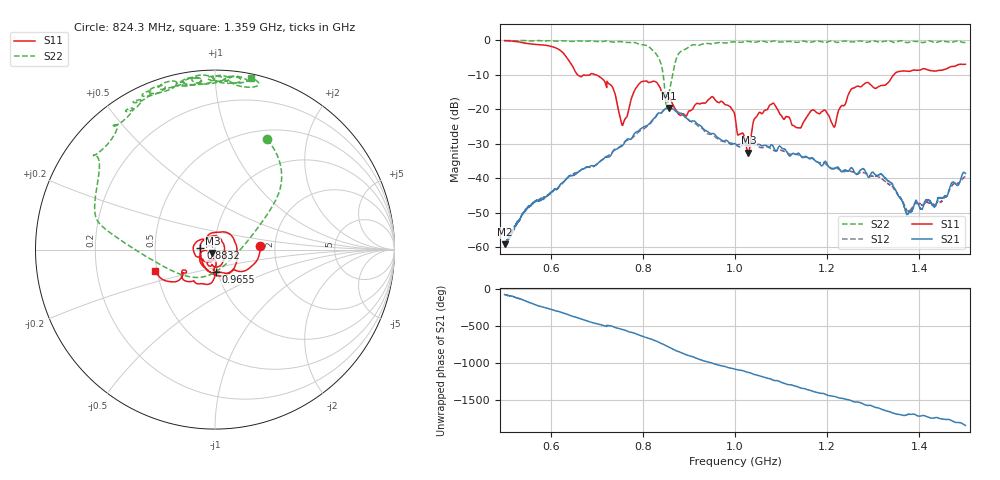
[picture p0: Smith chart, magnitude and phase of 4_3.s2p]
!Agilent Technologies,E8364B,US42250235,A.06.04.32
!Agilent E8364B: A.06.04.32
!Date: Thursday, October 01, 2020 11:07:55
!Correction: S11(Full 2 Port(1,2)) S21(Full 2 Port(1,2)) S12(Full 2 Port(1,2)) S22(Full 2 Port(1,2))
!S2P File: Measurements: S11, S21, S12, S22:
# Hz S  dB  R 50
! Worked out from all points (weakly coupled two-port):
!   2650 points, 500 MHz to 1.5 GHz, reference 50 ohm
!   highest |S21| = -19.70 dB at 856.4 MHz (marker M1); lowest = -59.2 dB at 501.5 MHz (marker M2)
!   lowest |S11| = -32.6 dB at 1.029 GHz (marker M3), VSWR 1.05, Z = 48.5 - j1.77 ohm
!   |S11| at or under -10 dB: 657.7 MHz to 685.6 MHz (27.95 MHz wide, 4.16 % of centre); 695.3 MHz to 1.345 GHz (649.7 MHz wide, 63.7 % of centre)
!   |S22| runs from -19.9 to -0.1 dB; largest |S21 - S12| = 0.028
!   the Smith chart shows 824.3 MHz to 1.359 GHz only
!   S11 on the Smith chart (normalised r, x): 824.3 MHz: 1.68, +0.07; 883.2 MHz: 0.85, +0.01; 965.5 MHz: 0.98, -0.25; 1.359 GHz: 0.49, -0.13
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5e8  -0.16 -175.4  -59.16 -74.7  -58.82 -74.2  -0.21 136.0
5.0151e8  -0.18 -176.2  -59.21 -78.7  -58.69 -74.7  -0.21 135.7
6.057003e8  -2.02 114.5  -43.66 75.4  -43.63 79.5  -0.28 129.4
6.668554e8  -10.58 85.4  -37.49 -46.7  -37.53 -42.3  -0.31 121.2
7.306531e8  -13.02 44.5  -33.40 -140.4  -32.95 -155.9  -0.50 113.3
7.563231e8  -24.63 65.3  -30.53 170.0  -30.18 155.3  -0.55 107.6
8.242733e8  -11.91 4.4  -22.69 25.3  -22.80 12.0  -3.36 64.7
8.337108e8  -12.96 -24.0  -21.16 -0.8  -21.41 -14.7  -5.04 48.5
8.563609e8  -16.47 -79.5  -19.70 -68.2  -19.71 -82.7  -15.81 -111.6
8.831635e8  -21.74 175.2  -21.19 -143.5  -21.46 -161.5  -3.25 164.7
9.654587e8  -18.19 -87.2  -28.42 46.1  -28.83 30.5  -0.72 121.4
1.000189e9  -22.16 -169.7  -30.04 -7.7  -30.22 -23.1  -0.51 118.5
1.029256e9  -32.60 -128.9  -30.24 -52.0  -30.63 -70.6  -0.39 114.9
1.078709e9  -18.62 -170.9  -30.29 -143.7  -31.60 -162.7  -0.43 102.8
1.136844e9  -25.38 -4.9  -32.76 111.8  -33.24 98.5  -0.65 96.4
1.166667e9  -20.35 -76.1  -34.13 58.9  -34.29 46.9  -0.56 95.2
1.214609e9  -25.18 -103.3  -37.23 -16.6  -37.36 -28.3  -0.39 97.7
1.254247e9  -14.01 -103.4  -37.06 -81.0  -38.14 -90.1  -0.55 88.9
1.333522e9  -12.17 -140.0  -40.92 137.9  -41.82 130.3  -0.23 82.6
1.358815e9  -9.04 -160.5  -45.85 95.7  -45.50 88.6  -0.21 78.3
1.432427e9  -9.01 163.0  -48.26 50.1  -47.67 37.7  -0.72 75.2
1.5e9  -7.03 140.5  -38.65 -51.4  -39.58 -60.5  -0.63 60.4
